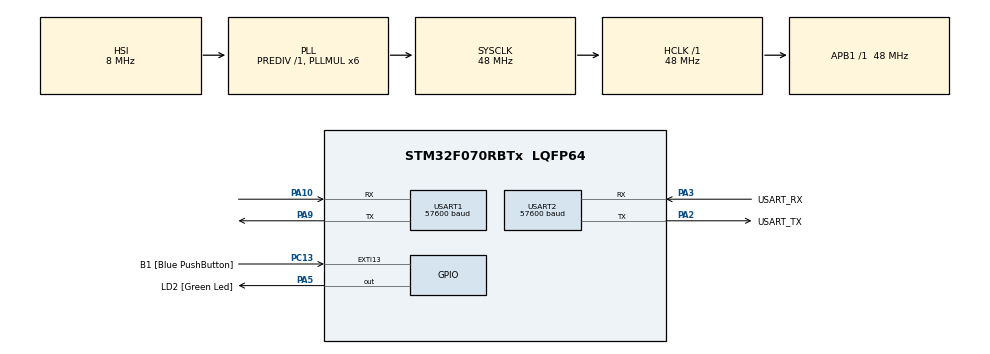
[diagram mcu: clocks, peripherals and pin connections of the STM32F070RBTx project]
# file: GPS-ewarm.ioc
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FREERTOS.Tasks01=defaultTask,0,128,StartDefaultTask,Default
Mcu.Family=STM32F0
Mcu.Name=STM32F070RBTx
Mcu.Package=LQFP64
NVIC.TIM1_BRK_UP_TRG_COM_IRQn=true\:0\:0\:false\:false\:true
NVIC.TimeBase=TIM1_BRK_UP_TRG_COM_IRQn
NVIC.TimeBaseIP=TIM1
PA10.Mode=Asynchronous
PA10.Signal=USART1_RX
PA13.GPIO_Label=TMS
PA13.Mode=Serial-WireDebug
PA13.Signal=SYS_SWDIO
PA14.Mode=Serial-WireDebug
PA14.Signal=SYS_SWCLK
PA2.GPIO_Label=USART_TX
PA2.Mode=Asynchronous
PA2.Signal=USART2_TX
PA3.GPIO_Label=USART_RX
PA3.Mode=Asynchronous
PA3.Signal=USART2_RX
PA5.GPIO_Label=LD2 [Green Led]
PA5.Signal=GPIO_Output
PA9.Mode=Asynchronous
PA9.Signal=USART1_TX
PC13.GPIO_Label=B1 [Blue PushButton]
PC13.GPIO_ModeDefaultEXTI=GPIO_MODE_EVT_RISING
PC13.Signal=GPXTI13
PC14-OSC32_IN.GPIO_Label=RCC_OSC32_IN
PC14-OSC32_IN.Signal=RCC_OSC32_IN
PC15-OSC32_OUT.GPIO_Label=RCC_OSC32_OUT
PC15-OSC32_OUT.Signal=RCC_OSC32_OUT
PF0-OSC_IN.GPIO_Label=RCC_OSC_IN
PF0-OSC_IN.Signal=RCC_OSC_IN
PF1-OSC_OUT.GPIO_Label=RCC_OSC_OUT
PF1-OSC_OUT.Signal=RCC_OSC_OUT
ProjectManager.HeapSize=0x400
ProjectManager.StackSize=0x200
ProjectManager.TargetToolchain=EWARM
RCC.AHBFreq_Value=48000000
RCC.APB1Freq_Value=48000000
RCC.APB1TimFreq_Value=48000000
RCC.HCLKFreq_Value=48000000
RCC.PLLMUL=RCC_PLL_MUL6
RCC.SYSCLKFreq_VALUE=48000000
RCC.SYSCLKSource=RCC_SYSCLKSOURCE_PLLCLK
USART1.BaudRate=57600
USART1.WordLength=UART_WORDLENGTH_8B
USART2.BaudRate=57600
USART2.WordLength=UART_WORDLENGTH_8B
VP_FREERTOS_VS_ENABLE.Mode=Enabled
VP_SYS_VS_tim1.Mode=TIM1
board=NUCLEO-F070RB

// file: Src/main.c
/**
******************************************************************************
* File Name          : main.c
* Description        : Main program body
******************************************************************************
*
* COPYRIGHT(c) 2016 STMicroelectronics
*
* Redistribution and use in source and binary forms, with or without modification,
* are permitted provided that the following conditions are met:
*   1. Redistributions of source code must retain the above copyright notice,
*      this list of conditions and the following disclaimer.
*   2. Redistributions in binary form must reproduce the above copyright notice,
*      this list of conditions and the following disclaimer in the documentation
*      and/or other materials provided with the distribution.
*   3. Neither the name of STMicroelectronics nor the names of its contributors
*      may be used to endorse or promote products derived from this software
*      without specific prior written permission.
*
* THIS SOFTWARE IS PROVIDED BY THE COPYRIGHT HOLDERS AND CONTRIBUTORS "AS IS"
* AND ANY EXPRESS OR IMPLIED WARRANTIES, INCLUDING, BUT NOT LIMITED TO, THE
* IMPLIED WARRANTIES OF MERCHANTABILITY AND FITNESS FOR A PARTICULAR PURPOSE ARE
* DISCLAIMED. IN NO EVENT SHALL THE COPYRIGHT HOLDER OR CONTRIBUTORS BE LIABLE
* FOR ANY DIRECT, INDIRECT, INCIDENTAL, SPECIAL, EXEMPLARY, OR CONSEQUENTIAL
* DAMAGES (INCLUDING, BUT NOT LIMITED TO, PROCUREMENT OF SUBSTITUTE GOODS OR
* SERVICES; LOSS OF USE, DATA, OR PROFITS; OR BUSINESS INTERRUPTION) HOWEVER
* CAUSED AND ON ANY THEORY OF LIABILITY, WHETHER IN CONTRACT, STRICT LIABILITY,
* OR TORT (INCLUDING NEGLIGENCE OR OTHERWISE) ARISING IN ANY WAY OUT OF THE USE
* OF THIS SOFTWARE, EVEN IF ADVISED OF THE POSSIBILITY OF SUCH DAMAGE.
*
******************************************************************************
*/
#include "stm32f0xx_hal.h"
#include "cmsis_os.h"

/* USER CODE BEGIN Includes */
#include <stdlib.h>
#include <string.h>
#include <math.h>
#include <stdint.h>
/* USER CODE END Includes */

UART_HandleTypeDef huart1;
UART_HandleTypeDef huart2;

osThreadId defaultTaskHandle;

/* USER CODE BEGIN PV */
/* Private variables ---------------------------------------------------------*/

/* USER CODE END PV */

void SystemClock_Config(void);
static void MX_GPIO_Init(void);
static void MX_USART1_UART_Init(void);
static void MX_USART2_UART_Init(void);
void StartDefaultTask(void const * argument);

/* USER CODE BEGIN PFP */
/* Private function prototypes -----------------------------------------------*/
int calculateditance(double lat1, double lat2, double long1, double long2);
int calculateangle( double lat1, double lat2, double long1, double long2);
void Directions(double *Mylat, double *Mylong, char *in);
void GPSReceive(double *Mylat, double *Mylong, char *in);
/* USER CODE END PFP */

int main(void)
{

  /* MCU Configuration----------------------------------------------------------*/

  /* Reset of all peripherals, Initializes the Flash interface and the Systick. */
  HAL_Init();

  /* Configure the system clock */
  SystemClock_Config();

  /* Initialize all configured peripherals */
  MX_GPIO_Init();
  MX_USART1_UART_Init();
  MX_USART2_UART_Init();

  /* Create the thread(s) */
  /* definition and creation of defaultTask */
  osThreadDef(defaultTask, StartDefaultTask, osPriorityNormal, 0, 128);
  defaultTaskHandle = osThreadCreate(osThread(defaultTask), NULL);

  /* Start scheduler */
  osKernelStart();

  /* We should never get here as control is now taken by the scheduler */

  /* Infinite loop */
  while (1)
  {

  }

}

/** System Clock Configuration
*/
void SystemClock_Config(void)
{

  RCC_OscInitTypeDef RCC_OscInitStruct;
  RCC_ClkInitTypeDef RCC_ClkInitStruct;
  RCC_PeriphCLKInitTypeDef PeriphClkInit;

  RCC_OscInitStruct.OscillatorType = RCC_OSCILLATORTYPE_HSI;
  RCC_OscInitStruct.HSIState = RCC_HSI_ON;
  RCC_OscInitStruct.HSICalibrationValue = 16;
  RCC_OscInitStruct.PLL.PLLState = RCC_PLL_ON;
  RCC_OscInitStruct.PLL.PLLSource = RCC_PLLSOURCE_HSI;
  RCC_OscInitStruct.PLL.PLLMUL = RCC_PLL_MUL6;
  RCC_OscInitStruct.PLL.PREDIV = RCC_PREDIV_DIV1;
  HAL_RCC_OscConfig(&RCC_OscInitStruct);

  RCC_ClkInitStruct.ClockType = RCC_CLOCKTYPE_HCLK|RCC_CLOCKTYPE_SYSCLK
    |RCC_CLOCKTYPE_PCLK1;
  RCC_ClkInitStruct.SYSCLKSource = RCC_SYSCLKSOURCE_PLLCLK;
  RCC_ClkInitStruct.AHBCLKDivider = RCC_SYSCLK_DIV1;
  RCC_ClkInitStruct.APB1CLKDivider = RCC_HCLK_DIV1;
  HAL_RCC_ClockConfig(&RCC_ClkInitStruct, FLASH_LATENCY_1);

  PeriphClkInit.PeriphClockSelection = RCC_PERIPHCLK_USART1;
  PeriphClkInit.Usart1ClockSelection = RCC_USART1CLKSOURCE_PCLK1;
  HAL_RCCEx_PeriphCLKConfig(&PeriphClkInit);

  HAL_SYSTICK_Config(HAL_RCC_GetHCLKFreq()/1000);

  HAL_SYSTICK_CLKSourceConfig(SYSTICK_CLKSOURCE_HCLK);

  /* SysTick_IRQn interrupt configuration */
  HAL_NVIC_SetPriority(SysTick_IRQn, 3, 0);
}

/* USART1 init function */
void MX_USART1_UART_Init(void)
{

  huart1.Instance = USART1;
  huart1.Init.BaudRate = 57600;
  huart1.Init.WordLength = UART_WORDLENGTH_8B;
  huart1.Init.StopBits = UART_STOPBITS_1;
  huart1.Init.Parity = UART_PARITY_NONE;
  huart1.Init.Mode = UART_MODE_TX_RX;
  huart1.Init.HwFlowCtl = UART_HWCONTROL_NONE;
  huart1.Init.OverSampling = UART_OVERSAMPLING_16;
  huart1.Init.OneBitSampling = UART_ONE_BIT_SAMPLE_DISABLE;
  huart1.AdvancedInit.AdvFeatureInit = UART_ADVFEATURE_NO_INIT;
  HAL_UART_Init(&huart1);

}

/* USART2 init function */
void MX_USART2_UART_Init(void)
{

  huart2.Instance = USART2;
  huart2.Init.BaudRate = 57600;
  huart2.Init.WordLength = UART_WORDLENGTH_8B;
  huart2.Init.StopBits = UART_STOPBITS_1;
  huart2.Init.Parity = UART_PARITY_NONE;
  huart2.Init.Mode = UART_MODE_TX_RX;
  huart2.Init.HwFlowCtl = UART_HWCONTROL_NONE;
  huart2.Init.OverSampling = UART_OVERSAMPLING_16;
  huart2.Init.OneBitSampling = UART_ONE_BIT_SAMPLE_DISABLE;
  huart2.AdvancedInit.AdvFeatureInit = UART_ADVFEATURE_NO_INIT;
  HAL_UART_Init(&huart2);

}

/** Configure pins as
* Analog
* Input
* Output
* EVENT_OUT
* EXTI
*/
void MX_GPIO_Init(void)
{

  GPIO_InitTypeDef GPIO_InitStruct;

  /* GPIO Ports Clock Enable */
  __HAL_RCC_GPIOC_CLK_ENABLE();
  __HAL_RCC_GPIOF_CLK_ENABLE();
  __HAL_RCC_GPIOA_CLK_ENABLE();

  /*Configure GPIO pin : B1_Pin */
  GPIO_InitStruct.Pin = B1_Pin;
  GPIO_InitStruct.Mode = GPIO_MODE_EVT_RISING;
  GPIO_InitStruct.Pull = GPIO_NOPULL;
  HAL_GPIO_Init(B1_GPIO_Port, &GPIO_InitStruct);

  /*Configure GPIO pin : LD2_Pin */
  GPIO_InitStruct.Pin = LD2_Pin;
  GPIO_InitStruct.Mode = GPIO_MODE_OUTPUT_PP;
  GPIO_InitStruct.Pull = GPIO_NOPULL;
  GPIO_InitStruct.Speed = GPIO_SPEED_FREQ_LOW;
  HAL_GPIO_Init(LD2_GPIO_Port, &GPIO_InitStruct);

  /*Configure GPIO pin Output Level */
  HAL_GPIO_WritePin(LD2_GPIO_Port, LD2_Pin, GPIO_PIN_RESET);

}

/* USER CODE BEGIN 4 */

int calculateditance(double lat1, double lat2, double long1, double long2){
        double  pi = 3.1415926535;
        double distanceKm,a;
        double c;

        double R = 6371;
        double dlong;
        double dlat;

        lat1 = lat1*(pi/180);
        lat2 = lat2*(pi/180);

        long1= long1*(pi/180);
        long2= long2*(pi/180);
        dlong = (long2 - long1);
        dlat  = (lat2 - lat1);

      a = sin(dlat/2)*sin(dlat/2) + cos(lat1)*cos(lat2)*sin(dlong/2)*sin(dlong/2);
      c = 2 * atan2( sqrt(a), sqrt(1-a) );
      distanceKm = R * c;

      double DistanceMeters= distanceKm*1000;
      return DistanceMeters;

}

int calculateangle( double lat1, double lat2, double long1, double long2){

  double  pi = 3.1415926535;
  double angle = 0;
  double degree;
  double dlong;
  double dlat;

  lat1 = lat1*(pi/180);
  lat2 = lat2*(pi/180);

  long1= long1*(pi/180);
  long2= long2*(pi/180);

  dlong = (long2 - long1);
  dlat  = (lat2 - lat1);

  angle =  atan2(sin(dlong)*cos(lat2), cos(lat1)*sin(lat2)-sin(lat1)*cos(lat2)*cos(dlong));
  degree = round(angle*(180/pi));
  int degreerounded = degree;
  degreerounded = (degreerounded+360)%360;
  return degreerounded;

}
void Directions(double *Mylat, double *Mylong, char *in)
 {
  char latitud[10];
  char longitud[10];

  strncpy(latitud,in+18,9);    //extracting latitud from current position;
  strncpy(longitud,in+30,10);  //extracting longitud

  *Mylong = atof(longitud)/100;
  *Mylat =  atof(latitud)/100;
       if(longitud[0]=='0')   // if longitud[0]==0,  this means the longitud is negative, thats why im multiplying by -1
         {
            *Mylong *= -1;
         }
 }

 void GPSReceive(double *Mylat, double *Mylong, char *in){
 volatile HAL_StatusTypeDef status;
 uint8_t inSize;
 receivebeg:

  while(in[0] != '$')
  {
    status = HAL_UART_Receive(&huart1, &in[0], 1, 0x100);
    if(status == HAL_TIMEOUT)
      osDelay(500);
  }
      // Receive

  for (inSize = 1; inSize < 40 && status != HAL_TIMEOUT; inSize++)
  //for (inSize = 1; inSize < 40; inSize++)
  {
      status = HAL_UART_Receive(&huart1, &in[inSize], 1, 0x100);

       if (in[inSize] == '\n')
        break;
  }

  HAL_UART_Transmit(&huart2, (uint8_t *)in, inSize-1, 0x100);

      if(in[3]== 'G' && in[4]=='G'  && in[5]=='A')
     {
        Directions(Mylat,Mylong, in);

     }

     else
     {
       in[0] = 0;
        osDelay(2000);
        goto receivebeg;
      }
  }

/* USER CODE END 4 */

/* StartDefaultTask function */
void StartDefaultTask(void const * argument)
{

  /* USER CODE BEGIN 5 */
  struct route1{

    double firstpointlat;
    double firstpointlong;
    double secondpointlat;
    double secondpointlong;
    double thirdpointlat;
    double thirdpointlong;

  }points;

  points.firstpointlat =   28.600640;
  points.firstpointlong = -81.196905;

  points.firstpointlat =   28.348973;
  points.firstpointlong = -81.125112;
  //points.firstpointlat =   28.600969;
  //points.firstpointlong = -81.197758;

  points.secondpointlat =  28.600642;
  points.secondpointlong = -81.196900;

  //points.thirdpointlat   = 28.601333;
  //points.thirdpointlong  = -81.196601;

  char in[40];

  //char latitud[10];
  //char longitud[10];

  double  currentlatitud=0;
  double currentlongitud=0;
  char *pop = "Just testing123!\n\r";

  in[0] = '0';
  uint8_t * nl = " - \r\n";
  uint8_t * nl2= "\r";
  uint8_t inSize;

  int totaldistance =0;
  int  test=0;

  // Config GPS (GGA, .5Hz)
  uint8_t *onlygga ="$PMTK314,0,0,0,1,0,0,0,0,0,0,0,0,0,0,0,0,0,0,0*29<CR><LF>";
  uint8_t *updatarate = "$PMTK220,2000*1C<CR><LF>";   //.5 times per second update  ---> .5Hz
  HAL_UART_Transmit(&huart1, (uint8_t *)onlygga, 13, 0x1000);
  HAL_UART_Transmit(&huart1, (uint8_t *)nl,1, 0x1000);

    // call Receive
  int distancetosecondpoint=0;
  int distancefirstpoint=100;
  int distancetothirdpoint=0;
  int approximation =20;

    GPSReceive(&currentlatitud, &currentlongitud,in);
    distancefirstpoint = calculateditance(currentlatitud,points.firstpointlat,currentlongitud,points.firstpointlong);
    HAL_GPIO_WritePin(LD2_GPIO_Port, LD2_Pin, GPIO_PIN_SET);
  for(;;)
  {

      if(distancefirstpoint > approximation)
      {
	osDelay(1000);
	GPSReceive(&currentlatitud, &currentlongitud,in);
    int distancefirstpoint = calculateditance(currentlatitud,points.firstpointlat,currentlongitud,points.firstpointlong);
      }
      else
      {
	HAL_GPIO_WritePin(LD2_GPIO_Port, LD2_Pin, GPIO_PIN_SET);
	osDelay(500);
	HAL_GPIO_WritePin(LD2_GPIO_Port, LD2_Pin, GPIO_PIN_RESET);
	osDelay(500);
      }

  }

/* USER CODE END 5 */
}

/************************ (C) COPYRIGHT STMicroelectronics *****END OF FILE****/
